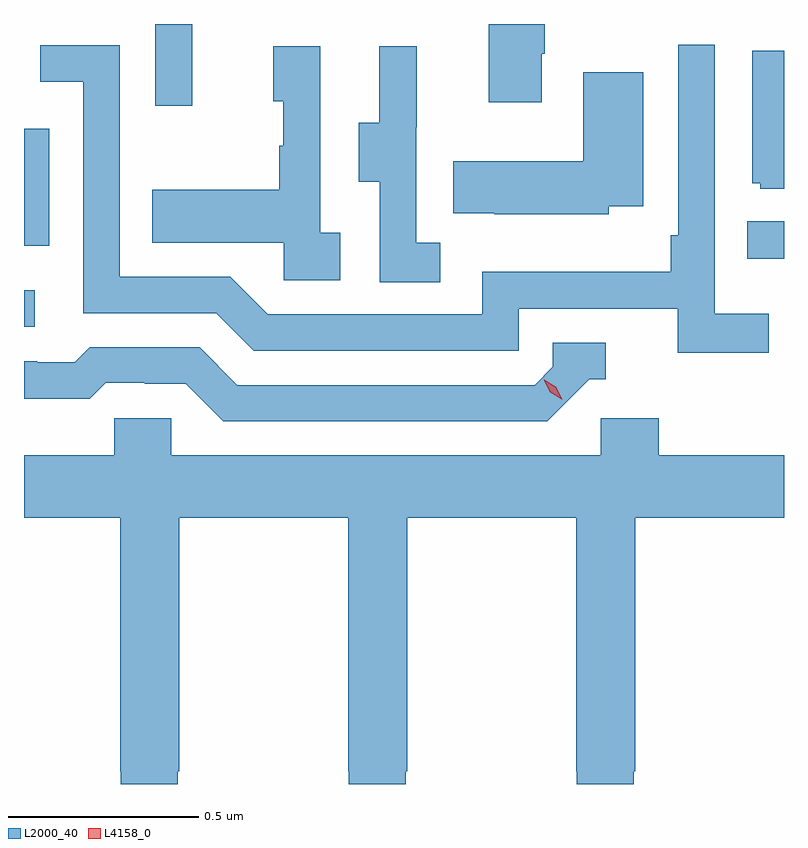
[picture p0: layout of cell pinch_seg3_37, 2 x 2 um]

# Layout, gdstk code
import gdstk
lib = gdstk.Library(unit=1e-6, precision=1e-09)
def R(c, l, rs):  # rectangles x0, y0, x1, y1
    for r in rs: c.add(gdstk.rectangle(r[:2], r[2:], *l))
def P(c, l, *ps):  # polygons
    for p in ps: c.add(gdstk.Polygon(p, *l))
L2000_40 = (2000, 40)
L4158_0 = (4158, 0)

pinch_seg3_37 = lib.new_cell('pinch_seg3_37')
R(pinch_seg3_37, L2000_40, [(1091.61,738.714,1091.638,738.81), (1093.513,738.893,1093.61,738.992), (1091.61,738.927,1091.676,739.236), (1091.955,739.296,1092.053,739.511)])
P(pinch_seg3_37, L2000_40, [(1092.973,739.433),(1092.981,739.433),(1092.981,739.511),(1092.833,739.511),(1092.833,739.305),(1092.973,739.305)],
  [(1093.57,738.748),(1093.428,738.748),(1093.428,739.456),(1093.332,739.456),(1093.332,738.955),(1093.312,738.955),(1093.312,738.859),(1092.816,738.859),(1092.816,738.747),(1092.252,738.747),(1092.153,738.846),(1091.862,738.846),(1091.862,739.455),(1091.653,739.455),(1091.653,739.359),(1091.766,739.359),(1091.766,738.75),(1092.116,738.75),(1092.215,738.651),(1092.912,738.651),(1092.912,738.762),(1093.331,738.762),(1093.331,738.646),(1093.57,738.646)],
  [(1092.706,738.935),(1092.642,738.935),(1092.642,739.239),(1092.644,739.239),(1092.644,739.453),(1092.545,739.453),(1092.545,739.251),(1092.491,739.251),(1092.491,739.096),(1092.546,739.096),(1092.546,738.832),(1092.706,738.832)],
  [(1092.442,738.962),(1092.39,738.962),(1092.39,739.453),(1092.266,739.453),(1092.266,739.308),(1092.292,739.308),(1092.292,739.19),(1092.282,739.19),(1092.282,739.075),(1091.947,739.075),(1091.947,738.935),(1092.294,738.935),(1092.294,738.837),(1092.442,738.837)],
  [(1093.61,739.441),(1093.526,739.441),(1093.526,739.092),(1093.548,739.092),(1093.548,739.077),(1093.61,739.077)],
  [(1093.149,739.031),(1093.24,739.031),(1093.24,739.384),(1093.082,739.384),(1093.082,739.15),(1092.739,739.15),(1092.739,739.013),(1092.847,739.013),(1092.847,739.01),(1093.149,739.01)],
  [(1093.098,738.576),(1093.141,738.576),(1093.141,738.672),(1093.002,738.672),(1093.002,738.609),(1092.954,738.561),(1092.171,738.561),(1092.072,738.66),(1091.783,738.66),(1091.744,738.621),(1091.645,738.621),(1091.645,738.624),(1091.61,738.624),(1091.61,738.525),(1091.783,738.525),(1091.825,738.567),(1091.928,738.567),(1091.928,738.564),(1092.035,738.564),(1092.134,738.465),(1092.987,738.465)],
  [(1091.997,738.474),(1091.847,738.474),(1091.847,738.376),(1091.61,738.376),(1091.61,738.212),(1091.863,738.212),(1091.863,737.545),(1091.865,737.545),(1091.865,737.511),(1092.015,737.511),(1092.015,737.545),(1092.018,737.545),(1092.018,738.212),(1092.463,738.212),(1092.463,737.545),(1092.465,737.545),(1092.465,737.511),(1092.615,737.511),(1092.615,737.545),(1092.618,737.545),(1092.618,738.212),(1093.063,738.212),(1093.063,737.545),(1093.065,737.545),(1093.065,737.511),(1093.215,737.511),(1093.215,737.545),(1093.218,737.545),(1093.218,738.212),(1093.61,738.212),(1093.61,738.376),(1093.28,738.376),(1093.28,738.474),(1093.128,738.474),(1093.128,738.376),(1091.997,738.376)])
P(pinch_seg3_37, L4158_0, [(1093.025,738.523),(1092.995,738.542),(1092.978,738.575),(1092.978,738.575),(1092.979,738.575),(1093.009,738.556),(1093.026,738.524),(1093.026,738.523)])

lib.write_gds('pinch_seg3_37.gds')
